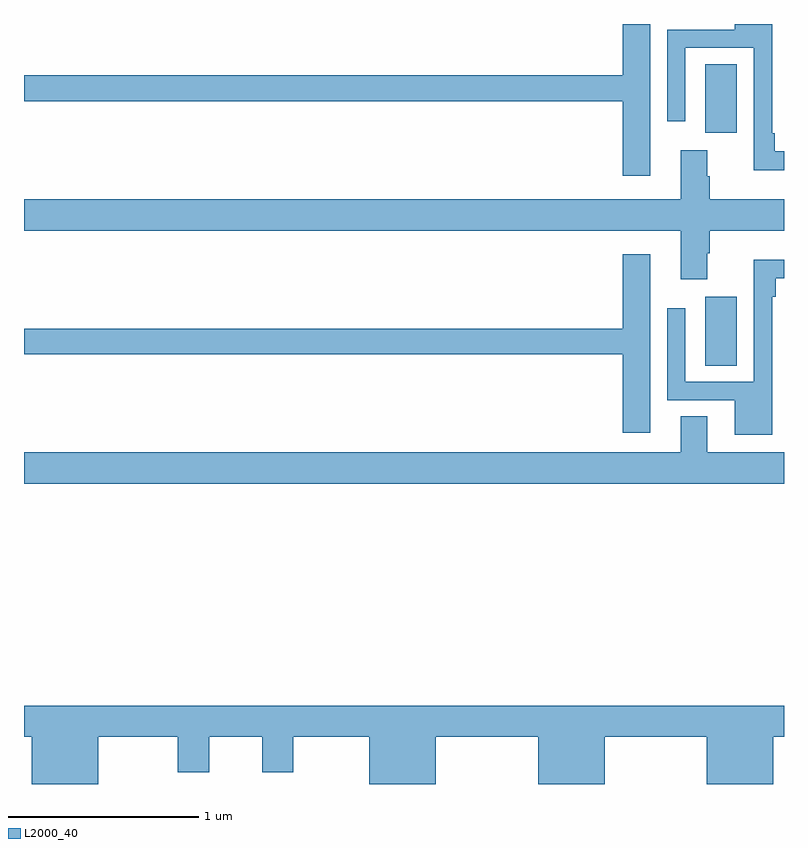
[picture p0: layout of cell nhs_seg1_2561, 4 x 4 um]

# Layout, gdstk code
import gdstk
lib = gdstk.Library(unit=1e-6, precision=1e-09)
def R(c, l, rs):  # rectangles x0, y0, x1, y1
    for r in rs: c.add(gdstk.rectangle(r[:2], r[2:], *l))
def P(c, l, *ps):  # polygons
    for p in ps: c.add(gdstk.Polygon(p, *l))
L2000_40 = (2000, 40)

nhs_seg1_2561 = lib.new_cell('nhs_seg1_2561')
R(nhs_seg1_2561, L2000_40, [(254.585,504.4,254.752,504.763), (254.585,505.626,254.752,505.988)])
P(nhs_seg1_2561, L2000_40, [(254.296,506.199),(254.15,506.199),(254.15,505.928),(251,505.928),(251,505.792),(254.15,505.792),(254.15,505.401),(254.296,505.401)],
  [(255,505.528),(254.95,505.528),(254.95,505.624),(254.937,505.624),(254.937,506.199),(254.741,506.199),(254.741,506.169),(254.385,506.169),(254.385,505.686),(254.481,505.686),(254.481,506.073),(254.841,506.073),(254.841,505.43),(255,505.43)],
  [(254.596,504.992),(254.609,504.992),(254.609,505.112),(255,505.112),(255,505.276),(254.609,505.276),(254.609,505.397),(254.596,505.397),(254.596,505.534),(254.456,505.534),(254.456,505.276),(251,505.276),(251,505.112),(254.456,505.112),(254.456,504.855),(254.596,504.855)],
  [(254.296,504.988),(254.15,504.988),(254.15,504.596),(251,504.596),(251,504.46),(254.15,504.46),(254.15,504.048),(254.296,504.048)],
  [(254.937,504.764),(254.957,504.764),(254.957,504.86),(255,504.86),(255,504.958),(254.841,504.958),(254.841,504.315),(254.481,504.315),(254.481,504.703),(254.385,504.703),(254.385,504.219),(254.741,504.219),(254.741,504.038),(254.937,504.038)],
  [(255,503.944),(254.596,503.944),(254.596,504.134),(254.456,504.134),(254.456,503.944),(251,503.944),(251,503.78),(255,503.78)],
  [(251,502.448),(251.042,502.448),(251.042,502.199),(251.392,502.199),(251.392,502.448),(251.81,502.448),(251.81,502.26),(251.974,502.26),(251.974,502.448),(252.254,502.448),(252.254,502.26),(252.418,502.26),(252.418,502.448),(252.818,502.448),(252.818,502.199),(253.168,502.199),(253.168,502.448),(253.706,502.448),(253.706,502.199),(254.056,502.199),(254.056,502.448),(254.594,502.448),(254.594,502.199),(254.944,502.199),(254.944,502.448),(255,502.448),(255,502.612),(251,502.612)])

lib.write_gds('nhs_seg1_2561.gds')
